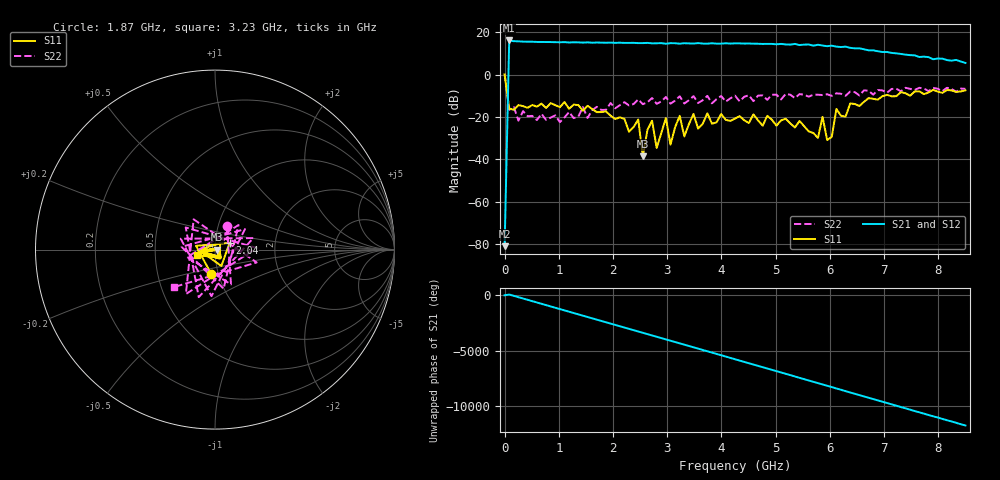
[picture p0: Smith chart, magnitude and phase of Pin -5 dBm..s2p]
! RsaToolbox (C) 2013 Rohde & Schwarz America
! Number of points: 101
! Number of ports: 2
! Balanced ports?: 0
# Hz S RI R 50
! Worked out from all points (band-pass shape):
!   101 points, 9 kHz to 8.5 GHz, reference 50 ohm
!   highest |S21| = 16.06 dB at 85.01 MHz (marker M1); lowest = -80.8 dB at 9 kHz (marker M2)
!   |S21| within 3 dB of the highest: 82.38 MHz to 6.16 GHz (6.077 GHz wide, 195 % of centre); 6.252 GHz to 6.303 GHz (51.56 MHz wide, 0.821 % of centre)
!   lowest |S11| = -38.6 dB at 2.55 GHz (marker M3), VSWR 1.02, Z = 51.2 - j0.111 ohm
!   |S11| at or under -10 dB: 53.17 MHz to 6.996 GHz (6.943 GHz wide, 197 % of centre); 7.109 GHz to 7.234 GHz (125.1 MHz wide, 1.74 % of centre)
!   |S22| runs from -22.4 to 0.1 dB; largest |S21 - S12| = 0
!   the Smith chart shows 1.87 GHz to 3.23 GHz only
!   S11 on the Smith chart (normalised r, x): 1.87 GHz: 0.92, -0.25; 2.04 GHz: 1.17, +0.09; 3.23 GHz: 0.81, -0.05
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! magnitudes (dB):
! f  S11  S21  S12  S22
! 9 kHz  0.1  -80.8  -80.8  0.1
! 85.01 MHz  -16.0  16.1  16.1  -16.6
! 1.02 GHz  -15.4  15.2  15.2  -22.4
! 1.445 GHz  -17.0  15.0  15.0  -15.3
! 1.87 GHz  -17.3  15.0  15.0  -16.6
! 2.04 GHz  -20.9  14.9  14.9  -15.9
! 2.465 GHz  -21.2  14.8  14.8  -11.7
! 2.55 GHz  -38.6  14.8  14.8  -14.0
! 2.72 GHz  -21.8  14.7  14.7  -11.1
! 2.805 GHz  -34.6  14.7  14.7  -13.8
! 2.89 GHz  -27.6  14.8  14.8  -12.7
! 2.975 GHz  -20.5  14.5  14.5  -10.6
! 3.06 GHz  -33.1  14.8  14.8  -13.7
! 3.23 GHz  -19.4  14.5  14.5  -10.2
! 3.315 GHz  -29.2  14.8  14.8  -13.6
! 3.485 GHz  -18.6  14.6  14.6  -10.2
! 3.57 GHz  -25.4  14.8  14.8  -13.4
! 4.25 GHz  -20.7  14.7  14.7  -9.9
! 5.695 GHz  -27.5  13.6  13.6  -9.5
! 5.95 GHz  -30.8  13.4  13.4  -9.3
! 7.14 GHz  -10.2  10.2  10.2  -6.8
! 8.5 GHz  -7.4  5.5  5.5  -6.7
